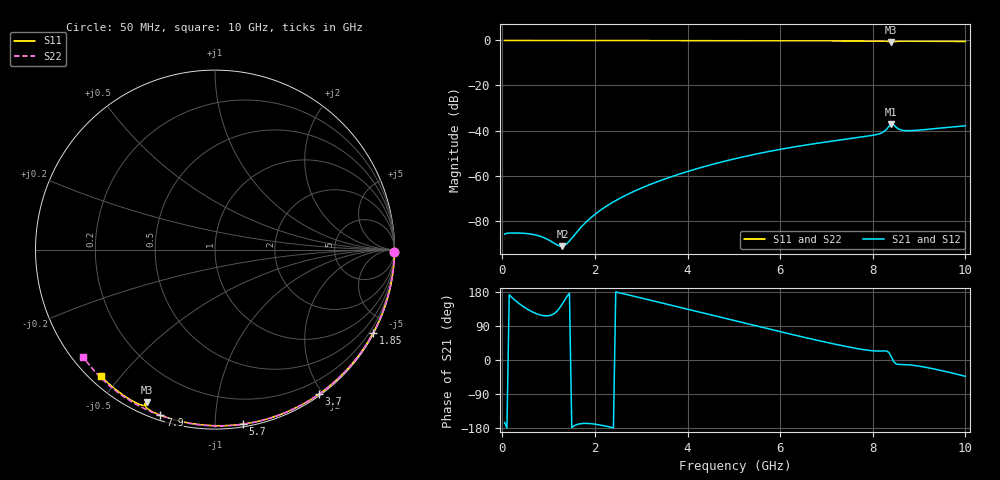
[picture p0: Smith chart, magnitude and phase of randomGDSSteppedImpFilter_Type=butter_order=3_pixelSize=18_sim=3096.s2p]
! freq	dB(S11)	phase(S11)	dB(S12)	phase(S12)
!  dB(S21)	phase(S21)	dB(S22)	phase(S22)
!S-par simulation data
#  GHz  S  DB  R 50
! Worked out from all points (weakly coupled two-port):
!   200 points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, 50 MHz to 10 GHz, reference 50 ohm
!   highest |S21| = -37.07 dB at 8.4 GHz (marker M1); lowest = -91.4 dB at 1.3 GHz (marker M2)
!   lowest |S11| = -0.6 dB at 8.4 GHz (marker M3), VSWR 27.31, Z = 2.6 - j32.4 ohm
!   |S11| at or under -10 dB: nowhere
!   |S22| runs from -0.5 to 0.0 dB; largest |S21 - S12| = 0
!   S11 on the Smith chart (normalised r, x): 50 MHz: open; 1.85 GHz: 0.04, -4.04; 3.7 GHz: 0.02, -1.95; 5.7 GHz: 0.02, -1.17; 7.9 GHz: 0.02, -0.72; 10 GHz: 0.03, -0.45
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0.05  -0.00 -0.8  -86.05 -164.7  -86.05 -164.7  -0.00 -0.8
0.65  -0.01 -9.9  -86.11 126.9  -86.11 126.9  -0.01 -10.6
1.3  -0.02 -19.7  -91.38 149.0  -91.38 149.0  -0.03 -21.0
1.75  -0.03 -26.3  -81.88 -167.3  -81.88 -167.3  -0.04 -28.2
1.85  -0.04 -27.8  -79.88 -167.3  -79.88 -167.3  -0.04 -29.7
2.15  -0.04 -32.2  -74.96 -172.5  -74.96 -172.5  -0.04 -34.4
2.45  -0.05 -36.6  -71.11 179.6  -71.11 179.6  -0.05 -39.1
2.85  -0.06 -42.3  -66.96 168.0  -66.96 168.0  -0.06 -45.2
3.4  -0.07 -50.1  -62.35 151.8  -62.35 151.8  -0.07 -53.5
3.7  -0.07 -54.3  -60.19 143.0  -60.19 143.0  -0.08 -58.0
4.35  -0.09 -63.2  -56.10 123.8  -56.10 123.8  -0.10 -67.4
5.05  -0.11 -72.6  -52.41 103.0  -52.41 103.0  -0.12 -77.4
5.7  -0.13 -81.0  -49.54 83.6  -49.54 83.6  -0.14 -86.3
6.7  -0.18 -93.6  -45.98 54.7  -45.98 54.7  -0.19 -99.6
7.9  -0.25 -108.3  -42.49 25.6  -42.49 25.6  -0.28 -115.0
8.2  -0.30 -112.2  -40.97 23.7  -40.97 23.7  -0.30 -118.7
8.3  -0.39 -113.8  -39.44 23.6  -39.44 23.6  -0.31 -119.9
8.35  -0.51 -114.5  -38.13 19.8  -38.13 19.8  -0.31 -120.6
8.4  -0.64 -114.1  -37.07 8.9  -37.07 8.9  -0.31 -121.2
8.6  -0.37 -115.4  -39.70 -11.9  -39.70 -11.9  -0.33 -123.7
8.75  -0.35 -117.4  -40.08 -12.4  -40.08 -12.4  -0.34 -125.6
10  -0.45 -132.0  -37.91 -43.0  -37.91 -43.0  -0.48 -141.0
